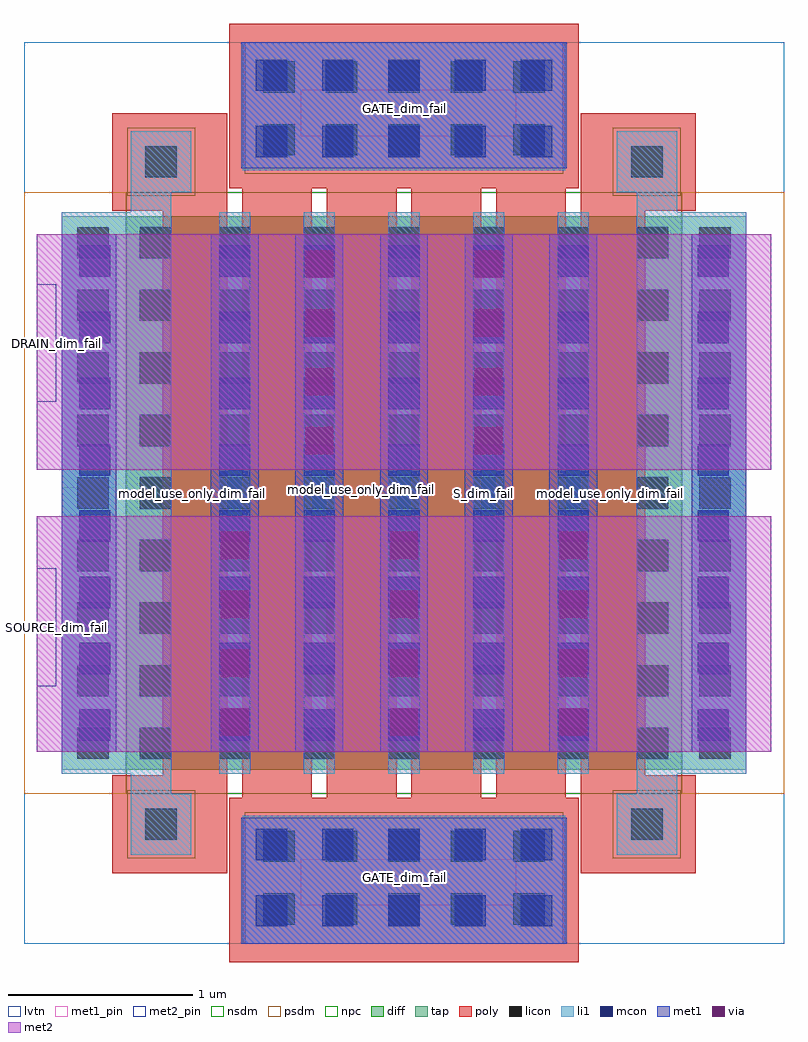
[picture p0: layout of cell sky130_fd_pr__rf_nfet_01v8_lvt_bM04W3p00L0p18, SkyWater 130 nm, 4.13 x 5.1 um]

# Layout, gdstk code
import gdstk
lib = gdstk.Library(unit=1e-6, precision=1e-09)
def R(c, l, rs):  # rectangles x0, y0, x1, y1
    for r in rs: c.add(gdstk.rectangle(r[:2], r[2:], *l))
def A(c, l, x, y, w, h, nx, ny, dx, dy):  # array of equal rectangles
    R(c, l, [(x+i*dx, y+j*dy, x+i*dx+w, y+j*dy+h) for i in range(nx) for j in range(ny)])
def P(c, l, *ps):  # polygons
    for p in ps: c.add(gdstk.Polygon(p, *l))
diff = (65, 20)
tap = (65, 44)
poly = (66, 20)
licon = (66, 44)
li1 = (67, 20)
mcon = (67, 44)
met1_pin = (68, 16)
met1 = (68, 20)
via = (68, 44)
met2_pin = (69, 16)
met2 = (69, 20)
nsdm = (93, 44)
psdm = (94, 20)
npc = (95, 20)
lvtn = (125, 44)

sky130_fd_pr__rf_nfet_01 = lib.new_cell('sky130_fd_pr__rf_nfet_01v8_lvt_bM04W3p00L0p18')
R(sky130_fd_pr__rf_nfet_01, diff, [(0.555,0.945,3.575,3.955)])
R(sky130_fd_pr__rf_nfet_01, tap, [(0.205,0.945,0.555,3.955), (3.575,0.945,3.925,3.955)])
P(sky130_fd_pr__rf_nfet_01, poly, [(0.48,0.385),(0.48,0.915),(0.755,0.915),(0.755,3.985),(0.48,3.985),(0.48,4.515),(1.105,4.515),(1.105,0.385)],
  [(3.025,0.385),(3.025,4.515),(3.65,4.515),(3.65,3.985),(3.375,3.985),(3.375,0.915),(3.65,0.915),(3.65,0.385)],
  [(1.115,-0.1),(1.115,0.795),(1.185,0.795),(1.185,4.105),(1.565,4.105),(1.565,0.795),(1.645,0.795),(1.645,4.105),(2.025,4.105),(2.025,0.795),(2.105,0.795),(2.105,4.105),(2.485,4.105),(2.485,0.795),(2.565,0.795),(2.565,4.105),(1.115,4.105),(1.115,5),(3.015,5),(3.015,4.105),(2.945,4.105),(2.945,0.795),(3.015,0.795),(3.015,-0.1)])
A(sky130_fd_pr__rf_nfet_01, licon, 1.3, 0.105, 0.17, 0.17, 5, 2, 0.34, 0.34)
A(sky130_fd_pr__rf_nfet_01, licon, 0.29, 1.005, 0.17, 0.17, 1, 9, 0, 0.34)
A(sky130_fd_pr__rf_nfet_01, licon, 0.63, 1.005, 0.17, 0.17, 1, 9, 0, 0.34)
A(sky130_fd_pr__rf_nfet_01, licon, 1.06, 1.005, 0.17, 0.17, 5, 9, 0.46, 0.34)
A(sky130_fd_pr__rf_nfet_01, licon, 3.33, 1.005, 0.17, 0.17, 1, 9, 0, 0.34)
A(sky130_fd_pr__rf_nfet_01, licon, 3.67, 1.005, 0.17, 0.17, 1, 9, 0, 0.34)
A(sky130_fd_pr__rf_nfet_01, licon, 1.3, 4.285, 0.17, 0.17, 5, 2, 0.34, 0.34)
R(sky130_fd_pr__rf_nfet_01, licon, [(0.66,0.565,0.83,0.735), (3.3,0.565,3.47,0.735), (0.66,4.165,0.83,4.335), (3.3,4.165,3.47,4.335)])
A(sky130_fd_pr__rf_nfet_01, li1, 1.06, 0.925, 0.17, 3.05, 5, 1, 0.46, 0)
A(sky130_fd_pr__rf_nfet_01, li1, 1.06, 1.105, 0.17, 2.69, 5, 1, 0.46, 0)
R(sky130_fd_pr__rf_nfet_01, li1, [(1.19,0,2.94,0.695), (0.58,0.485,0.91,0.815), (3.22,0.485,3.55,0.815), (0.58,0.815,0.8,0.925), (3.33,0.815,3.55,0.925), (0.205,0.925,0.8,3.975), (3.33,0.925,3.925,3.975), (0.58,3.975,0.8,4.085), (3.33,3.975,3.55,4.085), (0.58,4.085,0.91,4.415), (3.22,4.085,3.55,4.415), (1.19,4.205,2.94,4.9)])
A(sky130_fd_pr__rf_nfet_01, mcon, 1.26, 0.095, 0.17, 0.17, 5, 2, 0.36, 0.36)
A(sky130_fd_pr__rf_nfet_01, mcon, 0.3, 1.105, 0.17, 0.17, 1, 8, 0, 0.36)
A(sky130_fd_pr__rf_nfet_01, mcon, 1.06, 1.105, 0.17, 0.17, 5, 8, 0.46, 0.36)
A(sky130_fd_pr__rf_nfet_01, mcon, 3.66, 1.105, 0.17, 0.17, 1, 8, 0, 0.36)
A(sky130_fd_pr__rf_nfet_01, mcon, 1.26, 4.275, 0.17, 0.17, 5, 2, 0.36, 0.36)
R(sky130_fd_pr__rf_nfet_01, met1_pin, [(1.505,0.21,2.675,0.46), (0.205,2.33,0.5,2.48), (3.63,2.345,3.925,2.495), (1.505,4.39,2.675,4.64)])
A(sky130_fd_pr__rf_nfet_01, met1, 1.015, 1.045, 0.26, 2.81, 5, 1, 0.46, 0)
A(sky130_fd_pr__rf_nfet_01, met1, 1.015, 1.045, 0.26, 1.28, 3, 1, 0.92, 0)
R(sky130_fd_pr__rf_nfet_01, met1, [(1.18,0,2.95,0.685), (0.205,1.045,0.5,3.855), (3.63,1.045,3.925,3.855), (1.475,2.575,1.735,3.855), (2.395,2.575,2.655,3.855), (1.18,4.215,2.95,4.9)])
A(sky130_fd_pr__rf_nfet_01, via, 1.07, 1.13, 0.15, 0.15, 3, 4, 0.92, 0.32)
A(sky130_fd_pr__rf_nfet_01, via, 1.53, 2.66, 0.15, 0.15, 1, 4, 0, 0.32)
A(sky130_fd_pr__rf_nfet_01, via, 2.45, 2.66, 0.15, 0.15, 1, 4, 0, 0.32)
R(sky130_fd_pr__rf_nfet_01, met2_pin, [(0.07,1.4,0.175,2.04), (0.07,2.945,0.175,3.585)])
A(sky130_fd_pr__rf_nfet_01, met2, 1.015, 1.045, 0.26, 1.28, 3, 1, 0.92, 0)
R(sky130_fd_pr__rf_nfet_01, met2, [(0.07,1.045,4.06,2.325), (0.07,2.575,4.06,3.855), (1.475,2.575,1.735,3.855), (2.395,2.575,2.655,3.855)])
R(sky130_fd_pr__rf_nfet_01, nsdm, [(0.555,0.815,3.575,4.085)])
R(sky130_fd_pr__rf_nfet_01, psdm, [(0,0.815,0.555,4.085), (3.575,0.815,4.13,4.085)])
R(sky130_fd_pr__rf_nfet_01, npc, [(1.2,0,2.93,0.715), (0.56,0.465,0.93,0.835), (3.2,0.465,3.57,0.835), (0.56,4.065,0.93,4.435), (3.2,4.065,3.57,4.435), (1.2,4.185,2.93,4.9)])
R(sky130_fd_pr__rf_nfet_01, lvtn, [(0,0,4.13,4.9)])
sky130_fd_pr__rf_nfet_01.add(gdstk.Label('GATE_dim_fail', (2.065,0.36), layer=68, texttype=5))
sky130_fd_pr__rf_nfet_01.add(gdstk.Label('GATE_dim_fail', (2.065,4.54), layer=68, texttype=5))
sky130_fd_pr__rf_nfet_01.add(gdstk.Label('model_use_only_dim_fail', (3.185,2.45), layer=66, texttype=83))
sky130_fd_pr__rf_nfet_01.add(gdstk.Label('model_use_only_dim_fail', (0.915,2.45), layer=66, texttype=83))
sky130_fd_pr__rf_nfet_01.add(gdstk.Label('model_use_only_dim_fail', (1.835,2.47), layer=66, texttype=83))
sky130_fd_pr__rf_nfet_01.add(gdstk.Label('model_use_only_dim_fail', (2.26,2.49), layer=66, texttype=83))
sky130_fd_pr__rf_nfet_01.add(gdstk.Label('model_use_only_dim_fail', (2.75,2.505), layer=66, texttype=83))
sky130_fd_pr__rf_nfet_01.add(gdstk.Label('model_use_only_dim_fail', (1.36,2.47), layer=66, texttype=83))
sky130_fd_pr__rf_nfet_01.add(gdstk.Label('SUBSTRATE', (0.315,2.41), layer=68, texttype=16))
sky130_fd_pr__rf_nfet_01.add(gdstk.Label('SUBSTRATE', (3.74,2.425), layer=68, texttype=16))
sky130_fd_pr__rf_nfet_01.add(gdstk.Label('dummy_poly_dim_fail', (3.19,2.49), layer=83, texttype=44))
sky130_fd_pr__rf_nfet_01.add(gdstk.Label('dummy_poly_dim_fail', (0.91,2.52), layer=83, texttype=44))
sky130_fd_pr__rf_nfet_01.add(gdstk.Label('S_dim_fail', (1.205,2.45), layer=83, texttype=44))
sky130_fd_pr__rf_nfet_01.add(gdstk.Label('S_dim_fail', (1.635,2.45), layer=83, texttype=44))
sky130_fd_pr__rf_nfet_01.add(gdstk.Label('S_dim_fail', (2.065,2.45), layer=83, texttype=44))
sky130_fd_pr__rf_nfet_01.add(gdstk.Label('S_dim_fail', (2.495,2.45), layer=83, texttype=44))
sky130_fd_pr__rf_nfet_01.add(gdstk.Label('S_dim_fail', (1.205,2.45), layer=83, texttype=44))
sky130_fd_pr__rf_nfet_01.add(gdstk.Label('D_dim_fail', (1.635,2.45), layer=83, texttype=44))
sky130_fd_pr__rf_nfet_01.add(gdstk.Label('S_dim_fail', (2.065,2.45), layer=83, texttype=44))
sky130_fd_pr__rf_nfet_01.add(gdstk.Label('D_dim_fail', (2.495,2.45), layer=83, texttype=44))
sky130_fd_pr__rf_nfet_01.add(gdstk.Label('S_dim_fail', (2.925,2.45), layer=83, texttype=44))
sky130_fd_pr__rf_nfet_01.add(gdstk.Label('SOURCE_dim_fail', (0.175,1.72), layer=69, texttype=5))
sky130_fd_pr__rf_nfet_01.add(gdstk.Label('DRAIN_dim_fail', (0.175,3.265), layer=69, texttype=5))

lib.write_gds('sky130_fd_pr__rf_nfet_01v8_lvt_bM04W3p00L0p18.gds')
